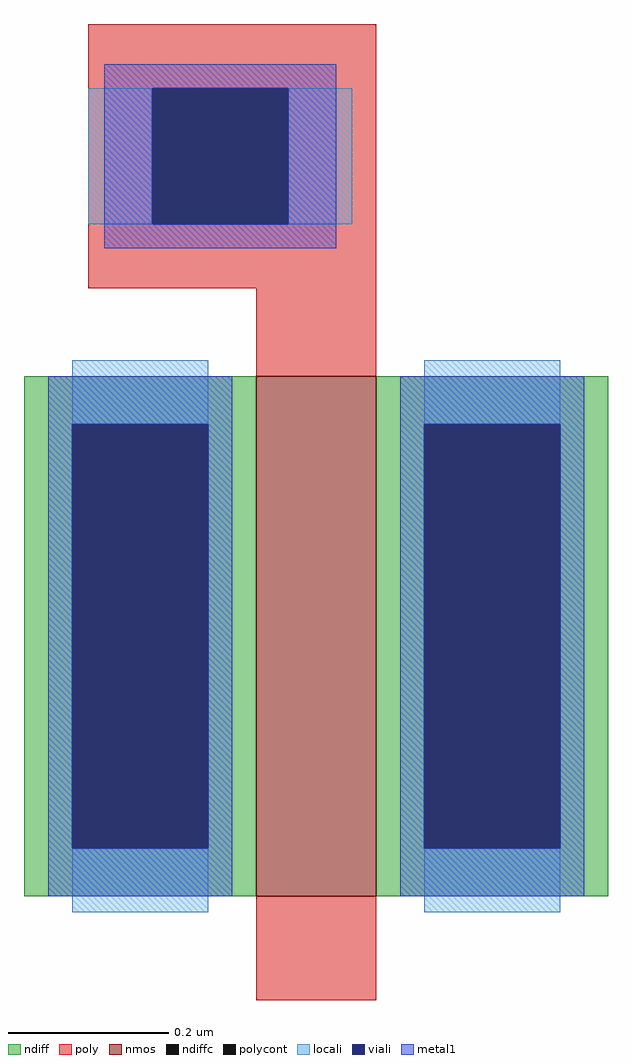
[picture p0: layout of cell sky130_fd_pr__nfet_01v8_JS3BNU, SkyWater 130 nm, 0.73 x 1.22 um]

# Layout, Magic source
magic
tech sky130A
magscale 1 2
<< nmos >>
rect -15 -96 15 34
<< ndiff >>
rect -73 22 -15 34
rect -73 -84 -61 22
rect -27 -84 -15 22
rect -73 -96 -15 -84
rect 15 22 73 34
rect 15 -84 27 22
rect 61 -84 73 22
rect 15 -96 73 -84
<< ndiffc >>
rect -61 -84 -27 22
rect 27 -84 61 22
<< poly >>
rect -57 106 15 122
rect -57 72 -41 106
rect -7 72 15 106
rect -57 56 15 72
rect -15 34 15 56
rect -15 -122 15 -96
<< polycont >>
rect -41 72 -7 106
<< locali >>
rect -57 72 -41 106
rect -7 72 9 106
rect -61 22 -27 38
rect -61 -100 -27 -84
rect 27 22 61 38
rect 27 -100 61 -84
<< viali >>
rect -41 72 -7 106
rect -61 -84 -27 22
rect 27 -84 61 22
<< metal1 >>
rect -53 106 5 112
rect -53 72 -41 106
rect -7 72 5 106
rect -53 66 5 72
rect -67 22 -21 34
rect -67 -84 -61 22
rect -27 -84 -21 22
rect -67 -96 -21 -84
rect 21 22 67 34
rect 21 -84 27 22
rect 61 -84 67 22
rect 21 -96 67 -84
<< properties >>
string gencell sky130_fd_pr__nfet_01v8
string parameters w 0.650 l 0.150 m 1 nf 1 diffcov 100 polycov 100 guard 0 glc 0 grc 0 gtc 0 gbc 0 tbcov 100 rlcov 100 topc 1 botc 0 poverlap 0 doverlap 1 lmin 0.15 wmin 0.42 compatible {sky130_fd_pr__nfet_01v8 sky130_fd_pr__nfet_01v8_lvt  sky130_fd_bs_flash__special_sonosfet_star  sky130_fd_pr__nfet_g5v0d10v5 sky130_fd_pr__nfet_05v0_nvt  sky130_fd_pr__nfet_03v3_nvt} full_metal 0 viasrc 100 viadrn 100 viagate 100 viagb 0 viagr 0 viagl 0 viagt 0
string library sky130
<< end >>
